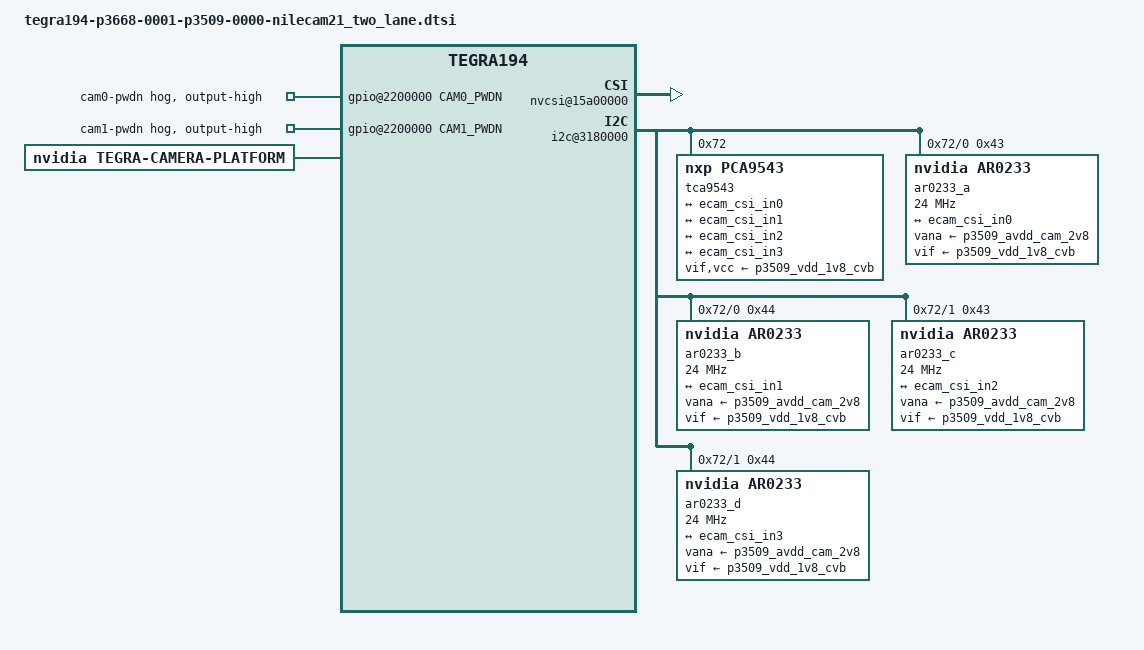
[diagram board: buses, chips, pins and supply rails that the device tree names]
/* Econ device tree for AR0233 support */
#include "dt-bindings/clock/tegra194-clock.h"
#define CAM0_PWDN	TEGRA194_MAIN_GPIO(P, 4)
#define CAM1_PWDN	TEGRA194_MAIN_GPIO(P, 5)
//#define CAM_I2C_MUX	TEGRA194_AON_GPIO(CC, 3)
#define CAMERA_I2C_MUX_BUS(x) (0x1E + x)

/*
 * EAC-2000 (Navier NX)
 * PCA9543APWR*1
 * MAX9296*2
 */

/* The lanes number of CSI-A of MAX9296 */
#define CAM_LANES 4
#define CAM_LANES_STRING "4"

#if 0
/* Enable Six overlays in Jetson Xavier */
&head0 {
	win-mask = <0x3f>;
};
#endif

/ {
	gpio@2200000 {
		/* CAM0_PWDN Power */
		camera-control-0_output-high {
			status = "okay";
			gpio-hog;
			gpios = <CAM0_PWDN 0>;
			output-high;
			label = "cam0-pwdn";
		};
		/* CAM1_PWDN Power */
		camera-control-1_output-high {
			status = "okay";
			gpio-hog;
			gpios = <CAM1_PWDN 0>;
			output-high;
			label = "cam1-pwdn";
		};
	};
     
	/* 
	 * all cameras are disabled by default
	 * Add virtual channel (vc-id) for EAC-2000 (Customization)
         * and nilecam21_cuxvr_mode.dtsi will use it.
	 */
	capture_vi_base: tegra-capture-vi  {
		num-channels = <4>; /* total cameras of nilecam */
		#address-cells = <1>;
		#size-cells = <0>;
		status = "okay";

		ports {
			#address-cells = <1>;
			#size-cells = <0>;

			port@0 {
				reg = <0>;
				status = "okay";
				ecam_vi_in0: endpoint {
					status = "okay";
					vc-id = <1>;
					port-index = <0>;
					bus-width = <CAM_LANES>;
					remote-endpoint = <&ecam_csi_out0>;
				};
			};
			port@1 {
				reg = <1>;
				status = "okay";
				ecam_vi_in1: endpoint {
					status = "okay";
					vc-id = <0>;
					port-index = <0>;
					bus-width = <CAM_LANES>;
					remote-endpoint = <&ecam_csi_out1>;
				};
			};
			port@2 {
				reg = <2>;
				status = "okay";
				ecam_vi_in2: endpoint {
					status = "okay";
					vc-id = <1>;
					port-index = <2>;
					bus-width = <CAM_LANES>;
					remote-endpoint = <&ecam_csi_out2>;
				};
			};
			port@3 {
				reg = <3>;
				status = "okay";
				ecam_vi_in3: endpoint {
					status = "okay";
					vc-id = <0>;
					port-index = <2>;
					bus-width = <CAM_LANES>;
					remote-endpoint = <&ecam_csi_out3>;
				};
			};
		};
	}; /* End of capture_vi_base */

	host1x@13e00000 {
		nvcsi@15a00000 {
			num-channels = <4>; /* total cameras of nilecam */
			#address-cells = <1>;
			#size-cells = <0>;
			status = "okay";

 			channel@0 {
				reg = <0>;
				status = "okay";
				ports {
					#address-cells = <1>;
					#size-cells = <0>;
					port@0 {
						reg = <0>;
						status = "okay";
						ecam_csi_in0: endpoint@0 {
							status = "okay";
							port-index = <0>;
							bus-width = <CAM_LANES>;
							remote-endpoint = <&ecam_ar0233_out0>;
						};
					};
					port@1 {
						reg = <1>;
						status = "okay";
						ecam_csi_out0: endpoint@1 {
							status = "okay";
							remote-endpoint = <&ecam_vi_in0>;
						};
					};
				};
			};
                        channel@1 {
				reg = <1>;
				status = "okay";
				ports {
					#address-cells = <1>;
					#size-cells = <0>;
					port@0 {
						reg = <0>;
						status = "okay";
						ecam_csi_in1: endpoint@2 {
							status = "okay";
							port-index = <0>;
							bus-width = <CAM_LANES>;
							remote-endpoint = <&ecam_ar0233_out1>;
						};
					};
					port@1 {
						reg = <1>;
						status = "okay";
						ecam_csi_out1: endpoint@3 {
							status = "okay";
							remote-endpoint = <&ecam_vi_in1>;
						};
					};
				};
			};
			channel@2 {
				reg = <2>;
				status = "okay";
				ports {
					#address-cells = <1>;
					#size-cells = <0>;
					port@0 {
						reg = <0>;
						status = "okay";
						ecam_csi_in2: endpoint@4 {
							status = "okay";
							port-index = <2>;
							bus-width = <CAM_LANES>;
							remote-endpoint = <&ecam_ar0233_out2>;
						};
					};
					port@1 {
						reg = <1>;
						status = "okay";
						ecam_csi_out2: endpoint@5 {
							status = "okay";
							remote-endpoint = <&ecam_vi_in2>;
						};
					};
				};
			};
			channel@3 {
				reg = <3>;
				status = "okay";
				ports {
					#address-cells = <1>;
					#size-cells = <0>;
					port@0 {
						reg = <0>;
						status = "okay";
						ecam_csi_in3: endpoint@6 {
							status = "okay";
							port-index = <2>;
							bus-width = <CAM_LANES>;
							remote-endpoint = <&ecam_ar0233_out3>;
						};
					};
					port@1 {
						reg = <1>;
						status = "okay";
						ecam_csi_out3: endpoint@7 {
							status = "okay";
							remote-endpoint = <&ecam_vi_in3>;
						};
					};
				};
			};
		}; /* End of nvcsi@15a00000 */
	}; /* End of host1x@13e00000 */

	fixed-regulators {
		p3509_vdd_1v8_cvb: regulator@102 {
			regulator-always-on;
		};
	};

	/* i2c-2 - 3180000 */
	i2c@3180000 {
		status = "okay";
		#address-cells = <1>;
		#size-cells = <0>;

		/* I2C MUX IC */
		tca9543@72 {
			status = "okay";
			compatible = "nxp,pca9543";
			reg = <0x72>;
			#address-cells = <1>;
			#size-cells = <0>;
			vif-supply = <&p3509_vdd_1v8_cvb>;
			vcc-supply = <&p3509_vdd_1v8_cvb>;
			skip_mux_detect;
			force_bus_start = <0x1e>;

			/* IC MAX9296 (U6) */
			i2c@0 {
				reg = <0>;
				i2c-mux,deselect-on-exit;
				#address-cells = <1>;
				#size-cells = <0>;
				status = "okay";

				/* The first camera on csi0 (two lanes) of MAX9296 (U6) */
				ar0233_a@43 {
					status = "okay";
					compatible = "nvidia,ar0233";
					reg = <0x43>;
					sensor_model ="ar0233";
					avdd-reg = "vana";
					iovdd-reg = "vif";
					clocks = <&bpmp_clks  TEGRA194_CLK_EXTPERIPH1>,
						 <&bpmp_clks TEGRA194_CLK_PLLP_OUT0>;
					clock-names = "extperiph1", "pllp_grtba";
					mclk = "extperiph1";
					clock-frequency = <24000000>;
					vana-supply = <&p3509_avdd_cam_2v8>;
					vif-supply = <&p3509_vdd_1v8_cvb>;
					use_sensor_mode_id = "true";
					camera_mipi_lanes = <2>;
					sio-port = "A";

#define VC_ID "1"
#define TEGRA_SINTERFACE "serial_a"
#include "nilecam21_cuxvr_mode.dtsi"
					ports {
						#address-cells = <1>;
						#size-cells = <0>;
						port@0 {
							reg = <0>;
							ecam_ar0233_out0: endpoint {
								vc-id = <1>;
								port-index = <0>;
								bus-width = <CAM_LANES>;
								remote-endpoint = <&ecam_csi_in0>;
							};
						};
					};
				};

				/* The senond camera on csi1 (two lanes) of MAX9296 (U6) */
				ar0233_b@44 {
					status = "okay";
					compatible = "nvidia,ar0233";
					reg = <0x44>;
					sensor_model ="ar0233";
					avdd-reg = "vana";
					iovdd-reg = "vif";
					clocks = <&bpmp_clks  TEGRA194_CLK_EXTPERIPH1>,
						 <&bpmp_clks TEGRA194_CLK_PLLP_OUT0>;
					clock-names = "extperiph1", "pllp_grtba";
					mclk = "extperiph1";
					clock-frequency = <24000000>;
					vana-supply = <&p3509_avdd_cam_2v8>;
					vif-supply = <&p3509_vdd_1v8_cvb>;
					use_sensor_mode_id = "true";
					camera_mipi_lanes = <2>;
					sio-port = "B";

#undef VC_ID
#define VC_ID "0"
#undef TEGRA_SINTERFACE
//#define TEGRA_SINTERFACE "serial_b"
#define TEGRA_SINTERFACE "serial_a"
#include "nilecam21_cuxvr_mode.dtsi"
					ports {
						#address-cells = <1>;
						#size-cells = <0>;
						port@0 {
							reg = <0>;
							ecam_ar0233_out1: endpoint {
								vc-id = <0>;
								port-index = <0>;
								bus-width = <CAM_LANES>;
								remote-endpoint = <&ecam_csi_in1>;
							};
						};
					};
				};
			}; /* End of i2c@0 */


			/* IC MAX9296 (U7) */
			i2c@1 {
				reg = <1>;
				i2c-mux,deselect-on-exit;
				#address-cells = <1>;
				#size-cells = <0>;
				status = "okay";

				/* The third camera on csi2 (two lanes) of MAX9296 (U7) */
				ar0233_c@43 {
					status = "okay";
					compatible = "nvidia,ar0233";
					reg = <0x43>;
					sensor_model ="ar0233";
					avdd-reg = "vana";
					iovdd-reg = "vif";
					clocks = <&bpmp_clks  TEGRA194_CLK_EXTPERIPH1>,
						 <&bpmp_clks TEGRA194_CLK_PLLP_OUT0>;
					clock-names = "extperiph1", "pllp_grtba";
					mclk = "extperiph1";
					clock-frequency = <24000000>;
					vana-supply = <&p3509_avdd_cam_2v8>;
					vif-supply = <&p3509_vdd_1v8_cvb>;
					use_sensor_mode_id = "true";
					camera_mipi_lanes = <2>;
					sio-port = "A";	

#undef VC_ID
#define VC_ID "1"
#undef TEGRA_SINTERFACE	
#define TEGRA_SINTERFACE "serial_c"
#include "nilecam21_cuxvr_mode.dtsi"
					ports {
						#address-cells = <1>;
						#size-cells = <0>;
						port@0 {
							reg = <0>;
							ecam_ar0233_out2: endpoint {
								vc-id = <1>;
								port-index = <2>;
								bus-width = <CAM_LANES>;
								remote-endpoint = <&ecam_csi_in2>;
							};
						};
					};
				};

				/* The fourth camera on csi3 (two lanes) of MAX9296 (U7) */
				ar0233_d@44 {
					status = "okay";
					compatible = "nvidia,ar0233";
					reg = <0x44>;
					sensor_model ="ar0233";
					avdd-reg = "vana";
					iovdd-reg = "vif";
					clocks = <&bpmp_clks  TEGRA194_CLK_EXTPERIPH1>,
						 <&bpmp_clks TEGRA194_CLK_PLLP_OUT0>;
					clock-names = "extperiph1", "pllp_grtba";
					mclk = "extperiph1";
					clock-frequency = <24000000>;
					vana-supply = <&p3509_avdd_cam_2v8>;
					vif-supply = <&p3509_vdd_1v8_cvb>;
					use_sensor_mode_id = "true";
					camera_mipi_lanes = <2>;	
					sio-port = "B";

#undef VC_ID
#define VC_ID "0"
#undef TEGRA_SINTERFACE
//#define TEGRA_SINTERFACE "serial_d"
#define TEGRA_SINTERFACE "serial_c"
#include "nilecam21_cuxvr_mode.dtsi"
					ports {
						#address-cells = <1>;
						#size-cells = <0>;
						port@0 {
							reg = <0>;
							ecam_ar0233_out3: endpoint {
								vc-id = <0>;
								port-index = <2>;
								bus-width = <CAM_LANES>;
								remote-endpoint = <&ecam_csi_in3>;
							};
						};
					};
				};
			}; /* End of i2c@1 */
		}; /* End of tca9548@72 */
	}; /* End of i2c@3180000 */
};


/ {
	tegra-camera-platform {
		compatible = "nvidia, tegra-camera-platform";
		num_csi_lanes = <4>; /* total cameras of nilecam */
		max_lane_speed = <2500000>;
		min_bits_per_pixel = <16>;
		vi_peak_byte_per_pixel = <2>;
		vi_bw_margin_pct = <67>;
		max_pixel_rate = <750000>;
		isp_peak_byte_per_pixel = <5>;
		isp_bw_margin_pct = <25>;

		modules {
			module0 {
				badge = "NileCAM21_CUXVR-1";
				position = "front";
				orientation = "1";
				drivernode0 {
					pcl_id = "v4l2_sensor";
					devname = "ar0233 30-0043";
					proc-device-tree = "/proc/device-tree/i2c@3180000/tca9543@72/i2c@0/ar0233_a@43";
					status = "okay";
				};
			};
			module1 {
				badge = "NileCAM21_CUXVR-2";
				position = "rear";
				orientation = "1";
				drivernode0 {
					pcl_id = "v4l2_sensor";
					devname = "ar0233 30-0044";
					proc-device-tree = "/proc/device-tree/i2c@3180000/tca9543@72/i2c@0/ar0233_b@44";
					status = "okay";
				};
			};
			module2 {
				badge = "NileCAM21_CUXVR-3";
				position = "topright";
				orientation = "1";
				drivernode0 {
					pcl_id = "v4l2_sensor";
					devname = "ar0233 31-0043";
					proc-device-tree = "/proc/device-tree/i2c@3180000/tca9543@72/i2c@1/ar0233_c@43";
					status = "okay";
				};
			};
			module3 {
				badge = "NileCAM21_CUXVR-4";
				position = "bottomright";
				orientation = "1";
				drivernode0 {
					pcl_id = "v4l2_sensor";
					devname = "ar0233 31-0044";
					proc-device-tree = "/proc/device-tree/i2c@3180000/tca9543@72/i2c@1/ar0233_d@44";
					status = "okay";
				};
			};
		};
	}; /* End of tcp: tegra-camera-platform */
};
